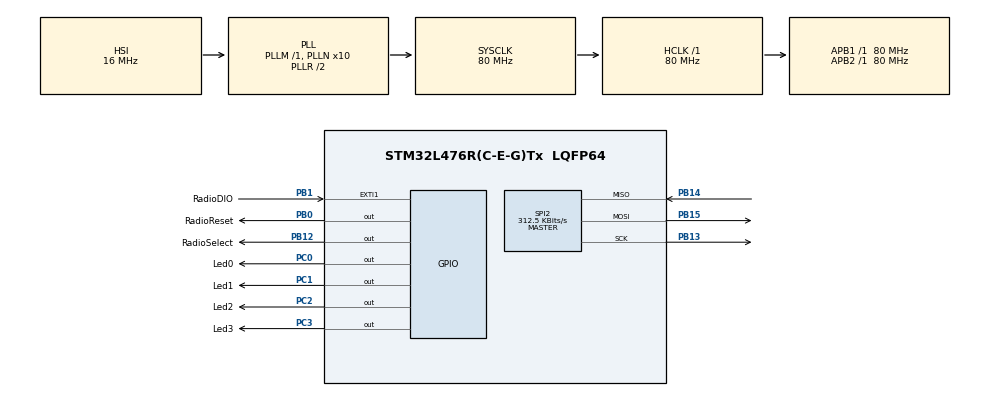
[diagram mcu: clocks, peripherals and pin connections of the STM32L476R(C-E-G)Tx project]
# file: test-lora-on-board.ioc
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Mcu.Family=STM32L4
Mcu.Name=STM32L476R(C-E-G)Tx
Mcu.Package=LQFP64
NVIC.EXTI1_IRQn=true\:0\:0\:false\:false\:true\:true\:true\:true
NVIC.PriorityGroup=NVIC_PRIORITYGROUP_4
NVIC.SPI2_IRQn=true\:0\:0\:false\:false\:true\:true\:true\:true
PA13\ (JTMS-SWDIO).Mode=Serial_Wire
PA13\ (JTMS-SWDIO).Signal=SYS_JTMS-SWDIO
PA14\ (JTCK-SWCLK).Mode=Serial_Wire
PA14\ (JTCK-SWCLK).Signal=SYS_JTCK-SWCLK
PB0.GPIO_Label=RadioReset
PB0.Signal=GPIO_Output
PB1.GPIO_Label=RadioDIO
PB1.Signal=GPXTI1
PB12.GPIO_Label=RadioSelect
PB12.Signal=GPIO_Output
PB13.Mode=Full_Duplex_Master
PB13.Signal=SPI2_SCK
PB14.Mode=Full_Duplex_Master
PB14.Signal=SPI2_MISO
PB15.Mode=Full_Duplex_Master
PB15.Signal=SPI2_MOSI
PC0.GPIO_Label=Led0
PC0.Signal=GPIO_Output
PC1.GPIO_Label=Led1
PC1.Signal=GPIO_Output
PC2.GPIO_Label=Led2
PC2.Signal=GPIO_Output
PC3.GPIO_Label=Led3
PC3.Signal=GPIO_Output
ProjectManager.HeapSize=0x200
ProjectManager.StackSize=0x400
ProjectManager.TargetToolchain=STM32CubeIDE
RCC.ADCFreq_Value=64000000
RCC.AHBFreq_Value=80000000
RCC.APB1Freq_Value=80000000
RCC.APB1TimFreq_Value=80000000
RCC.APB2Freq_Value=80000000
RCC.APB2TimFreq_Value=80000000
RCC.CortexFreq_Value=80000000
RCC.HCLKFreq_Value=80000000
RCC.HSE_VALUE=8000000
RCC.HSI_VALUE=16000000
RCC.LSE_VALUE=32768
RCC.MSI_VALUE=4000000
RCC.PLLN=10
RCC.PLLSourceVirtual=RCC_PLLSOURCE_HSI
RCC.SYSCLKFreq_VALUE=80000000
RCC.SYSCLKSource=RCC_SYSCLKSOURCE_PLLCLK
RCC.USBFreq_Value=64000000
RCC.VCOOutputFreq_Value=160000000
SPI2.BaudRatePrescaler=SPI_BAUDRATEPRESCALER_256
SPI2.CalculateBaudRate=312.5 KBits/s
SPI2.DataSize=SPI_DATASIZE_8BIT
SPI2.Direction=SPI_DIRECTION_2LINES
SPI2.Mode=SPI_MODE_MASTER
SPI2.NSSPMode=SPI_NSS_PULSE_DISABLE
SPI2.VirtualType=VM_MASTER
board=custom

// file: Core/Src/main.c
/* USER CODE BEGIN Header */
/**
  ******************************************************************************
  * @file           : main.c
  * @brief          : Main program body
  ******************************************************************************
  * @attention
  *
  * Copyright (c) 2024 STMicroelectronics.
  * All rights reserved.
  *
  * This software is licensed under terms that can be found in the LICENSE file
  * in the root directory of this software component.
  * If no LICENSE file comes with this software, it is provided AS-IS.
  *
  ******************************************************************************
  */
/* USER CODE END Header */
#include "main.h"

/* USER CODE BEGIN Includes */
#include "Custom/lora.h"
/* USER CODE END Includes */

SPI_HandleTypeDef hspi2;

/* USER CODE BEGIN PV */
lora_t lora;
uint8_t buffer[1] = {0};
volatile bool do_start_rx = false, was_interrupt = false;
uint8_t irq = 0;
/* USER CODE END PV */

void SystemClock_Config(void);
static void MX_GPIO_Init(void);
static void MX_SPI2_Init(void);

/* USER CODE BEGIN 0 */
// interrupt handler (not actually an interrupt due to call location)
void on_receive(int size) {
	// read into buffer
	for (int i = 0; i < size && i < sizeof(buffer); i++) {
		buffer[i] = lora_read(&lora);
	}

	// sleep -- resets FIFO buffer
	lora_sleep(&lora);

	// flash LEDs
	write_pin(Led1_GPIO_Port, Led1_Pin, buffer[0] & 0x1);
	write_pin(Led2_GPIO_Port, Led2_Pin, buffer[0] & 0x2);
	write_pin(Led3_GPIO_Port, Led3_Pin, buffer[0] & 0x4);

	// put back into receive
	lora_receive(&lora, 0);
}

void setup(void) {
	lora_init(&lora, &hspi2, RadioSelect_GPIO_Port, RadioSelect_Pin, RadioReset_GPIO_Port, RadioReset_Pin);
	lora_set_tx_power(&lora, 20);
	lora.on_receive = on_receive;
	lora_receive(&lora, 0); // 0 = explicit header mode
}

void loop(void) {
	if (was_interrupt) {
		lora_dio_interrupt(&lora);
		was_interrupt = false;
	}

	toggle_pin(Led0_GPIO_Port, Led0_Pin);
	HAL_Delay(100);
}

void HAL_GPIO_EXTI_Callback(uint16_t pin) {
	if (pin == RadioDIO_Pin) {
		was_interrupt = true;
	}
}
/* USER CODE END 0 */

int main(void)
{

  /* MCU Configuration--------------------------------------------------------*/

  /* Reset of all peripherals, Initializes the Flash interface and the Systick. */
  HAL_Init();

  /* Configure the system clock */
  SystemClock_Config();

  /* Initialize all configured peripherals */
  MX_GPIO_Init();
  MX_SPI2_Init();
  /* USER CODE BEGIN 2 */
  setup();
  /* USER CODE END 2 */

  /* Infinite loop */
  /* USER CODE BEGIN WHILE */
  while (1)
  {
	loop();
    /* USER CODE END WHILE */

  }
}

void SystemClock_Config(void)
{
  RCC_OscInitTypeDef RCC_OscInitStruct = {0};
  RCC_ClkInitTypeDef RCC_ClkInitStruct = {0};

  /** Configure the main internal regulator output voltage
  */
  if (HAL_PWREx_ControlVoltageScaling(PWR_REGULATOR_VOLTAGE_SCALE1) != HAL_OK)
  {
    Error_Handler();
  }

  /** Initializes the RCC Oscillators according to the specified parameters
  * in the RCC_OscInitTypeDef structure.
  */
  RCC_OscInitStruct.OscillatorType = RCC_OSCILLATORTYPE_HSI;
  RCC_OscInitStruct.HSIState = RCC_HSI_ON;
  RCC_OscInitStruct.HSICalibrationValue = RCC_HSICALIBRATION_DEFAULT;
  RCC_OscInitStruct.PLL.PLLState = RCC_PLL_ON;
  RCC_OscInitStruct.PLL.PLLSource = RCC_PLLSOURCE_HSI;
  RCC_OscInitStruct.PLL.PLLM = 1;
  RCC_OscInitStruct.PLL.PLLN = 10;
  RCC_OscInitStruct.PLL.PLLP = RCC_PLLP_DIV7;
  RCC_OscInitStruct.PLL.PLLQ = RCC_PLLQ_DIV2;
  RCC_OscInitStruct.PLL.PLLR = RCC_PLLR_DIV2;
  if (HAL_RCC_OscConfig(&RCC_OscInitStruct) != HAL_OK)
  {
    Error_Handler();
  }

  /** Initializes the CPU, AHB and APB buses clocks
  */
  RCC_ClkInitStruct.ClockType = RCC_CLOCKTYPE_HCLK|RCC_CLOCKTYPE_SYSCLK
                              |RCC_CLOCKTYPE_PCLK1|RCC_CLOCKTYPE_PCLK2;
  RCC_ClkInitStruct.SYSCLKSource = RCC_SYSCLKSOURCE_PLLCLK;
  RCC_ClkInitStruct.AHBCLKDivider = RCC_SYSCLK_DIV1;
  RCC_ClkInitStruct.APB1CLKDivider = RCC_HCLK_DIV1;
  RCC_ClkInitStruct.APB2CLKDivider = RCC_HCLK_DIV1;

  if (HAL_RCC_ClockConfig(&RCC_ClkInitStruct, FLASH_LATENCY_4) != HAL_OK)
  {
    Error_Handler();
  }
}

static void MX_SPI2_Init(void)
{

  /* SPI2 parameter configuration*/
  hspi2.Instance = SPI2;
  hspi2.Init.Mode = SPI_MODE_MASTER;
  hspi2.Init.Direction = SPI_DIRECTION_2LINES;
  hspi2.Init.DataSize = SPI_DATASIZE_8BIT;
  hspi2.Init.CLKPolarity = SPI_POLARITY_LOW;
  hspi2.Init.CLKPhase = SPI_PHASE_1EDGE;
  hspi2.Init.NSS = SPI_NSS_SOFT;
  hspi2.Init.BaudRatePrescaler = SPI_BAUDRATEPRESCALER_256;
  hspi2.Init.FirstBit = SPI_FIRSTBIT_MSB;
  hspi2.Init.TIMode = SPI_TIMODE_DISABLE;
  hspi2.Init.CRCCalculation = SPI_CRCCALCULATION_DISABLE;
  hspi2.Init.CRCPolynomial = 7;
  hspi2.Init.CRCLength = SPI_CRC_LENGTH_DATASIZE;
  hspi2.Init.NSSPMode = SPI_NSS_PULSE_DISABLE;
  if (HAL_SPI_Init(&hspi2) != HAL_OK)
  {
    Error_Handler();
  }

}

static void MX_GPIO_Init(void)
{
  GPIO_InitTypeDef GPIO_InitStruct = {0};

  /* GPIO Ports Clock Enable */
  __HAL_RCC_GPIOC_CLK_ENABLE();
  __HAL_RCC_GPIOB_CLK_ENABLE();
  __HAL_RCC_GPIOA_CLK_ENABLE();

  /*Configure GPIO pin Output Level */
  HAL_GPIO_WritePin(GPIOC, Led0_Pin|Led1_Pin|Led2_Pin|Led3_Pin, GPIO_PIN_RESET);

  /*Configure GPIO pin Output Level */
  HAL_GPIO_WritePin(GPIOB, RadioReset_Pin|RadioSelect_Pin, GPIO_PIN_RESET);

  /*Configure GPIO pins : Led0_Pin Led1_Pin Led2_Pin Led3_Pin */
  GPIO_InitStruct.Pin = Led0_Pin|Led1_Pin|Led2_Pin|Led3_Pin;
  GPIO_InitStruct.Mode = GPIO_MODE_OUTPUT_PP;
  GPIO_InitStruct.Pull = GPIO_NOPULL;
  GPIO_InitStruct.Speed = GPIO_SPEED_FREQ_LOW;
  HAL_GPIO_Init(GPIOC, &GPIO_InitStruct);

  /*Configure GPIO pins : RadioReset_Pin RadioSelect_Pin */
  GPIO_InitStruct.Pin = RadioReset_Pin|RadioSelect_Pin;
  GPIO_InitStruct.Mode = GPIO_MODE_OUTPUT_PP;
  GPIO_InitStruct.Pull = GPIO_NOPULL;
  GPIO_InitStruct.Speed = GPIO_SPEED_FREQ_LOW;
  HAL_GPIO_Init(GPIOB, &GPIO_InitStruct);

  /*Configure GPIO pin : RadioDIO_Pin */
  GPIO_InitStruct.Pin = RadioDIO_Pin;
  GPIO_InitStruct.Mode = GPIO_MODE_IT_RISING;
  GPIO_InitStruct.Pull = GPIO_NOPULL;
  HAL_GPIO_Init(RadioDIO_GPIO_Port, &GPIO_InitStruct);

  /* EXTI interrupt init*/
  HAL_NVIC_SetPriority(EXTI1_IRQn, 0, 0);
  HAL_NVIC_EnableIRQ(EXTI1_IRQn);

}

void Error_Handler(void)
{
  __disable_irq();
  while (1)
  {
  }
}
